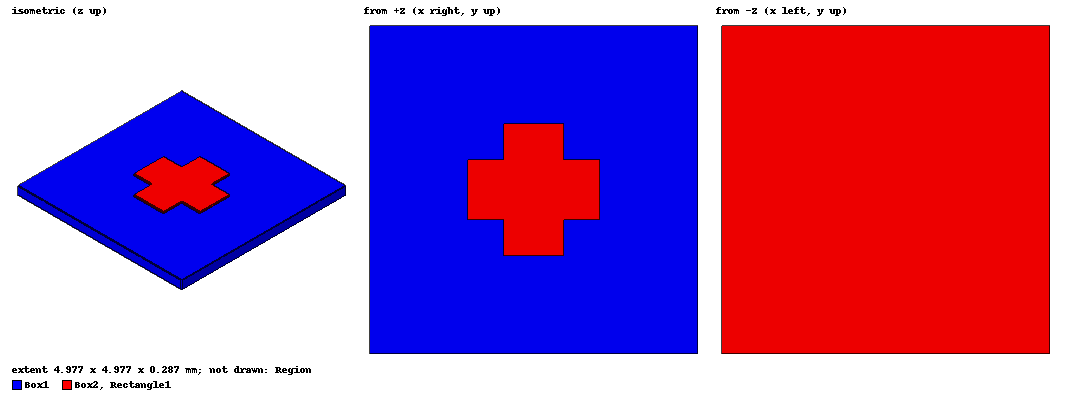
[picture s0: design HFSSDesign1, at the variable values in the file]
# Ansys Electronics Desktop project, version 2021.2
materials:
  vacuum: permittivity=1
  Rogers RT/duroid 5880 (tm): permittivity=2.2 dielectric_loss_tangent=0.0009
  pec: conductivity=1e+30
  copper: permeability=0.999991 conductivity=58000000

design HFSSDesign1 (HFSS, DrivenModal, model units mm)
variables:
  margin = 1mm
  cellSize = 4.97686998mm
  Xsize = cellSize
  Ysize = cellSize
  H = 0.252mm
  wArm = 0.90590445mm
  lArm = 2.01219mm
  parameters = [0.905904449532623, 2.01219532476657, 0.035, 0.252, 4.97686998302557] mm
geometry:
  Rectangle1 = rectangle(corner=(0mm, 0mm, 0mm), x_size=Xsize, y_size=Ysize)
  Box1 [Rogers RT/duroid 5880 (tm)] = box(corner=(0mm, 0mm, 0mm), size=(Xsize, Ysize, H))
  Region [vacuum] = region(absolute_offset: +X=0mm, -X=0mm, +Y=0mm, -Y=0mm, +Z=10mm, -Z=10mm)
  Box2 [copper] = box(corner=(Xsize/2 -wArm /2, Ysize/2 - lArm/2, H), size=(wArm, lArm, 0.035mm))
  Box3 = box(corner=(XSize/2 -lArm/2, YSize/2-wArm/2, H), size=(lArm, wArm, 0.035mm))
  Box2.unite(Box3)
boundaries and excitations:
  PerfE1: Perfect E Objects=Rectangle1
  Primary1: Primary Faces=Region.face(+x) CoordSysVector{Region.vertex(1 of 8) -> Region.vertex(2 of 8)}
  Primary2: Primary Faces=Region.face(+y) CoordSysVector{Region.vertex(2 of 8) -> Region.vertex(3 of 8)}
  Secondary1: Secondary Faces=Region.face(-y) CoordSysVector{Region.vertex(1 of 8) -> Region.vertex(4 of 8)} ReverseV primary=Primary2 PhaseDelay=UseScanAngle Phi=0deg Theta=0deg
  Secondary2: Secondary Faces=Region.face(-x) CoordSysVector{Region.vertex(4 of 8) -> Region.vertex(3 of 8)} ReverseV primary=Primary1 PhaseDelay=UseScanAngle Phi=0deg Theta=0deg
  FloquetPort1: Floquet Port Faces=Region.face(+z) NumModes=2 DeembedDist=10mm Modes{Mode1{CharImp=Zpi} Mode2{CharImp=Zpi}} PhaseDelay=UseScanAngle Phi=0deg Theta=0deg LatticeAVector{Region.vertex(1 of 8) -> Region.vertex(2 of 8)} LatticeBVector{Region.vertex(1 of 8) -> Region.vertex(4 of 8)} ModesList{Mode{ModeNumber=1 IndexM=0 IndexN=0 KC2=0 PropagationState=Propagating Attenuation=0 PolarizationState=TE AffectsRefinement} Mode{ModeNumber=2 IndexM=0 IndexN=0 KC2=0 PropagationState=Propagating Attenuation=0 PolarizationState=TM AffectsRefinement}}
  FloquetPort2: Floquet Port Faces=Region.face(-z) NumModes=2 DeembedDist=10mm Modes{Mode1{CharImp=Zpi} Mode2{CharImp=Zpi}} PhaseDelay=UseScanAngle Phi=0deg Theta=0deg LatticeAVector{Region.vertex(6 of 8) -> Region.vertex(5 of 8)} LatticeBVector{Region.vertex(6 of 8) -> Region.vertex(7 of 8)} ModesList{Mode{ModeNumber=1 IndexM=0 IndexN=0 KC2=0 PropagationState=Propagating Attenuation=0 PolarizationState=TE AffectsRefinement} Mode{ModeNumber=2 IndexM=0 IndexN=0 KC2=0 PropagationState=Propagating Attenuation=0 PolarizationState=TM AffectsRefinement}}
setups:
  Setup1: HfssDriven Frequency=75GHz MaxDeltaS=0.02 MaximumPasses=5 MinimumPasses=1 MinimumConvergedPasses=1 PercentRefinement=30 BasisOrder=1 PortAccuracy=2
    sweep Sweep: 70GHz to 80GHz step 0.1GHz; Type=Interpolating InterpTolerance=0.5 InterpMaxSolns=250 InterpUsePortImped=false PassivityErrorTolerance=0.0001
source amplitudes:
  FloquetPort1:1: 1W 0deg
  FloquetPort1:2, FloquetPort2:1, FloquetPort2:2: 0W 0deg
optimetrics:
  ParametricSetup1: Parametric Sim._Setups=[Setup1]
    sweep wArm: LIN 1mm 4.5mm 0.25mm
    sweep lArm: LIN 1.5mm 4.5mm 0.25mm
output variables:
  AbsorbanceTE = 1-((mag(S(FloquetPort1:1,FloquetPort1:1)))^2 +(mag(S(FloquetPort2:1,FloquetPort1:1)))^2)
  AbsorbanceTM = 1-((mag(S(FloquetPort1:2,FloquetPort1:2)))^2 +(mag(S(FloquetPort2:2,FloquetPort1:2)))^2)
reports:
  Absorption: AbsorbanceTM vs Freq on Setup1 : Sweep [wArm=all lArm=all]; markers MX1 at x=5.5569853e+10
  Absorption_1: AbsorbanceTM vs Freq on Setup1 : Sweep [wArm=all lArm=all]; markers MX1 at x=5.5569853e+10
